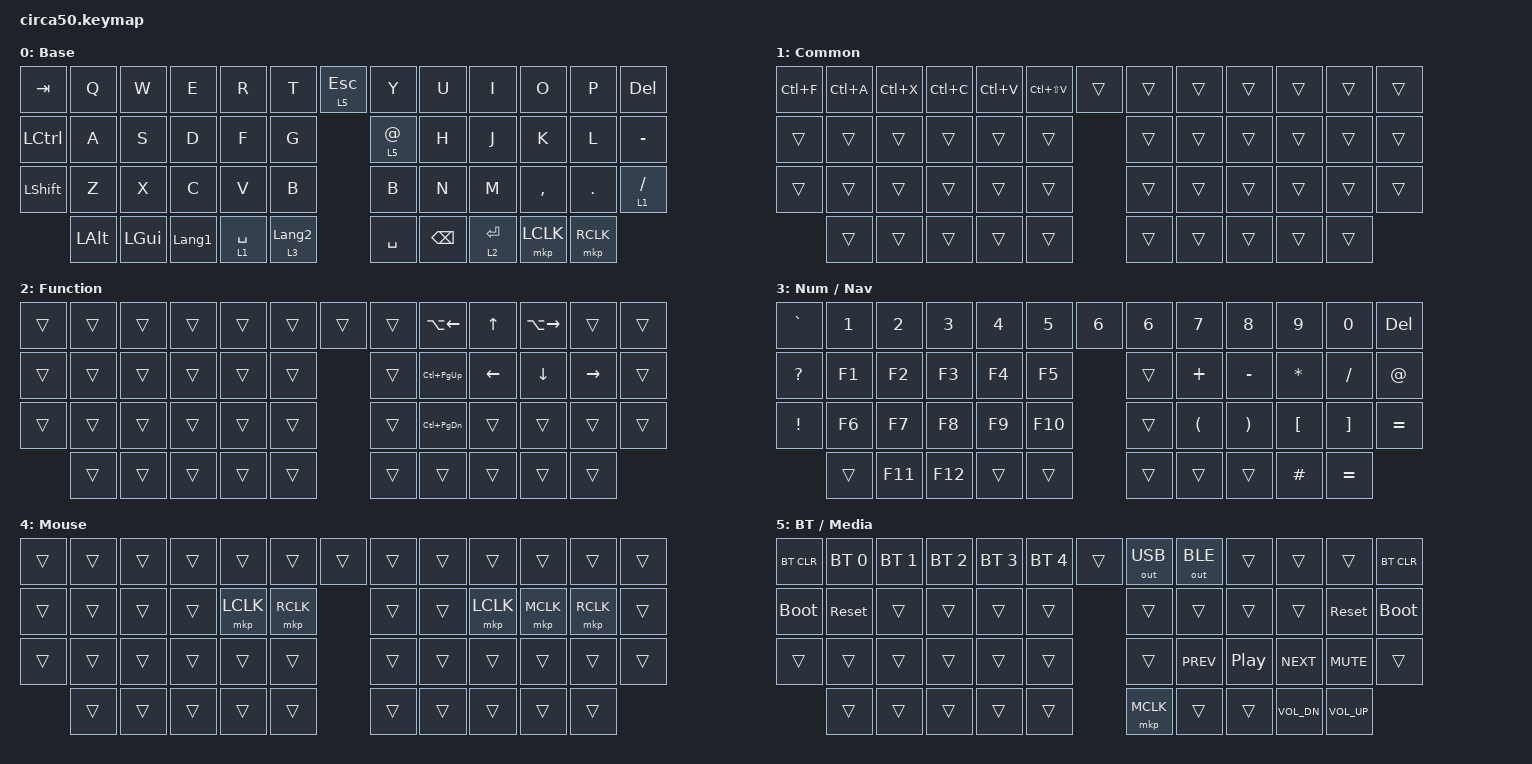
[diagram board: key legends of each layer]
#include <behaviors.dtsi>
#include <dt-bindings/zmk/bt.h>
#include <dt-bindings/zmk/keys.h>
#include <dt-bindings/zmk/outputs.h>
#include <dt-bindings/zmk/pointing.h>

/ {
    combos {
        compatible = "zmk,combos";

        Lang1 {
            bindings = <&kp LANGUAGE_1>;
            key-positions = <17 16>;
        };

        Lang2 {
            bindings = <&kp LANGUAGE_2>;
            key-positions = <21 22>;
        };

        Escape {
            bindings = <&kp ESCAPE>;
            key-positions = <0 1>;
        };
    };

    keymap {
        compatible = "zmk,keymap";

        base {
            label = "Base";

            // SW1..6 SW45 | SW22..27
            // SW7..12    | SW46 SW28..32
            // SW13..17 SW43 | SW33..38
            // SW18..21 SW44 | SW49 SW39..42

            bindings = <
&kp TAB    &kp Q         &kp W         &kp E           &kp R        &kp T             &lt 5 ESCAPE                   &kp Y          &kp U        &kp I      &kp O      &kp P        &kp DEL
&kp LCTRL  &kp A         &kp S         &kp D           &kp F        &kp G                             &lt 5 AT_SIGN  &kp H          &kp J        &kp K      &kp L      &kp MINUS
&kp LSHFT  &kp Z         &kp X         &kp C           &kp V        &kp B                             &kp B          &kp N          &kp M        &kp COMMA  &kp DOT    &lt 1 SLASH
           &kp LEFT_ALT  &kp LEFT_GUI  &kp LANGUAGE_1  &lt 1 SPACE  &lt 3 LANGUAGE_2                  &kp SPACE      &kp BACKSPACE  &lt 2 ENTER  &mkp LCLK  &mkp RCLK
            >;
        };

        Common {
            bindings = <
&kp LC(F)  &kp LC(A)  &kp LC(X)  &kp LC(C)  &kp LC(V)  &kp LC(LS(V))  &trans            &trans  &trans  &trans  &trans  &trans  &trans
&trans     &trans     &trans     &trans     &trans     &trans                   &trans  &trans  &trans  &trans  &trans  &trans
&trans     &trans     &trans     &trans     &trans     &trans                   &trans  &trans  &trans  &trans  &trans  &trans
           &trans     &trans     &trans     &trans     &trans                   &trans  &trans  &trans  &trans  &trans
            >;
        };

        Function {
            bindings = <
&trans  &trans  &trans  &trans  &trans  &trans  &trans            &trans             &kp LA(LEFT_ARROW)  &kp UP_ARROW    &kp LA(RIGHT_ARROW)  &trans  &trans
&trans  &trans  &trans  &trans  &trans  &trans            &trans  &kp LC(PAGE_UP)    &kp LEFT_ARROW      &kp DOWN_ARROW  &kp RIGHT_ARROW      &trans
&trans  &trans  &trans  &trans  &trans  &trans            &trans  &kp LC(PAGE_DOWN)  &trans              &trans          &trans               &trans
        &trans  &trans  &trans  &trans  &trans            &trans  &trans             &trans              &trans          &trans
            >;
        };

        numbers {
            label = "Num / Nav";
            bindings = <
&kp GRAVE        &kp N1  &kp N2   &kp N3   &kp N4  &kp N5   &kp N6            &kp N6                &kp N7                 &kp N8            &kp N9             &kp N0       &kp DEL
&kp QUESTION     &kp F1  &kp F2   &kp F3   &kp F4  &kp F5             &trans  &kp PLUS              &kp MINUS              &kp ASTRK         &kp SLASH          &kp AT_SIGN
&kp EXCLAMATION  &kp F6  &kp F7   &kp F8   &kp F9  &kp F10            &trans  &kp LEFT_PARENTHESIS  &kp RIGHT_PARENTHESIS  &kp LEFT_BRACKET  &kp RIGHT_BRACKET  &kp EQUAL
                 &trans  &kp F11  &kp F12  &trans  &trans             &trans  &trans                &trans                 &kp HASH          &kp EQUAL
            >;
        };

        mouse {
            label = "Mouse";

            // Auto Mouse Layer 用: trackball_listener の zip_temp_layer から
            // ボール移動時に自動でこのレイヤーへ入る（circa50_right.overlay 参照）。
            // J/K/L (position 21/22/23) にクリックを配置。ベースの LCLK/RCLK・
            // systemレイヤーのMCLKはそのまま残しているため、手動アクセスも従来通り可能。

            bindings = <
&trans  &trans  &trans  &trans  &trans     &trans     &trans            &trans  &trans     &trans     &trans     &trans  &trans
&trans  &trans  &trans  &trans  &mkp LCLK  &mkp RCLK            &trans  &trans  &mkp LCLK  &mkp MCLK  &mkp RCLK  &trans
&trans  &trans  &trans  &trans  &trans     &trans               &trans  &trans  &trans     &trans     &trans     &trans
        &trans  &trans  &trans  &trans     &trans               &trans  &trans  &trans     &trans     &trans
            >;
        };

        system {
            label = "BT / Media";
            bindings = <
&bt BT_CLR   &bt BT_SEL 0  &bt BT_SEL 1  &bt BT_SEL 2  &bt BT_SEL 3  &bt BT_SEL 4  &trans               &out OUT_USB  &out OUT_BLE  &trans        &trans        &trans       &bt BT_CLR
&bootloader  &sys_reset    &trans        &trans        &trans        &trans                  &trans     &trans        &trans        &trans        &sys_reset    &bootloader
&trans       &trans        &trans        &trans        &trans        &trans                  &trans     &kp C_PREV    &kp C_PP      &kp C_NEXT    &kp C_MUTE    &trans
             &trans        &trans        &trans        &trans        &trans                  &mkp MCLK  &trans        &trans        &kp C_VOL_DN  &kp C_VOL_UP
            >;
        };
    };
};
